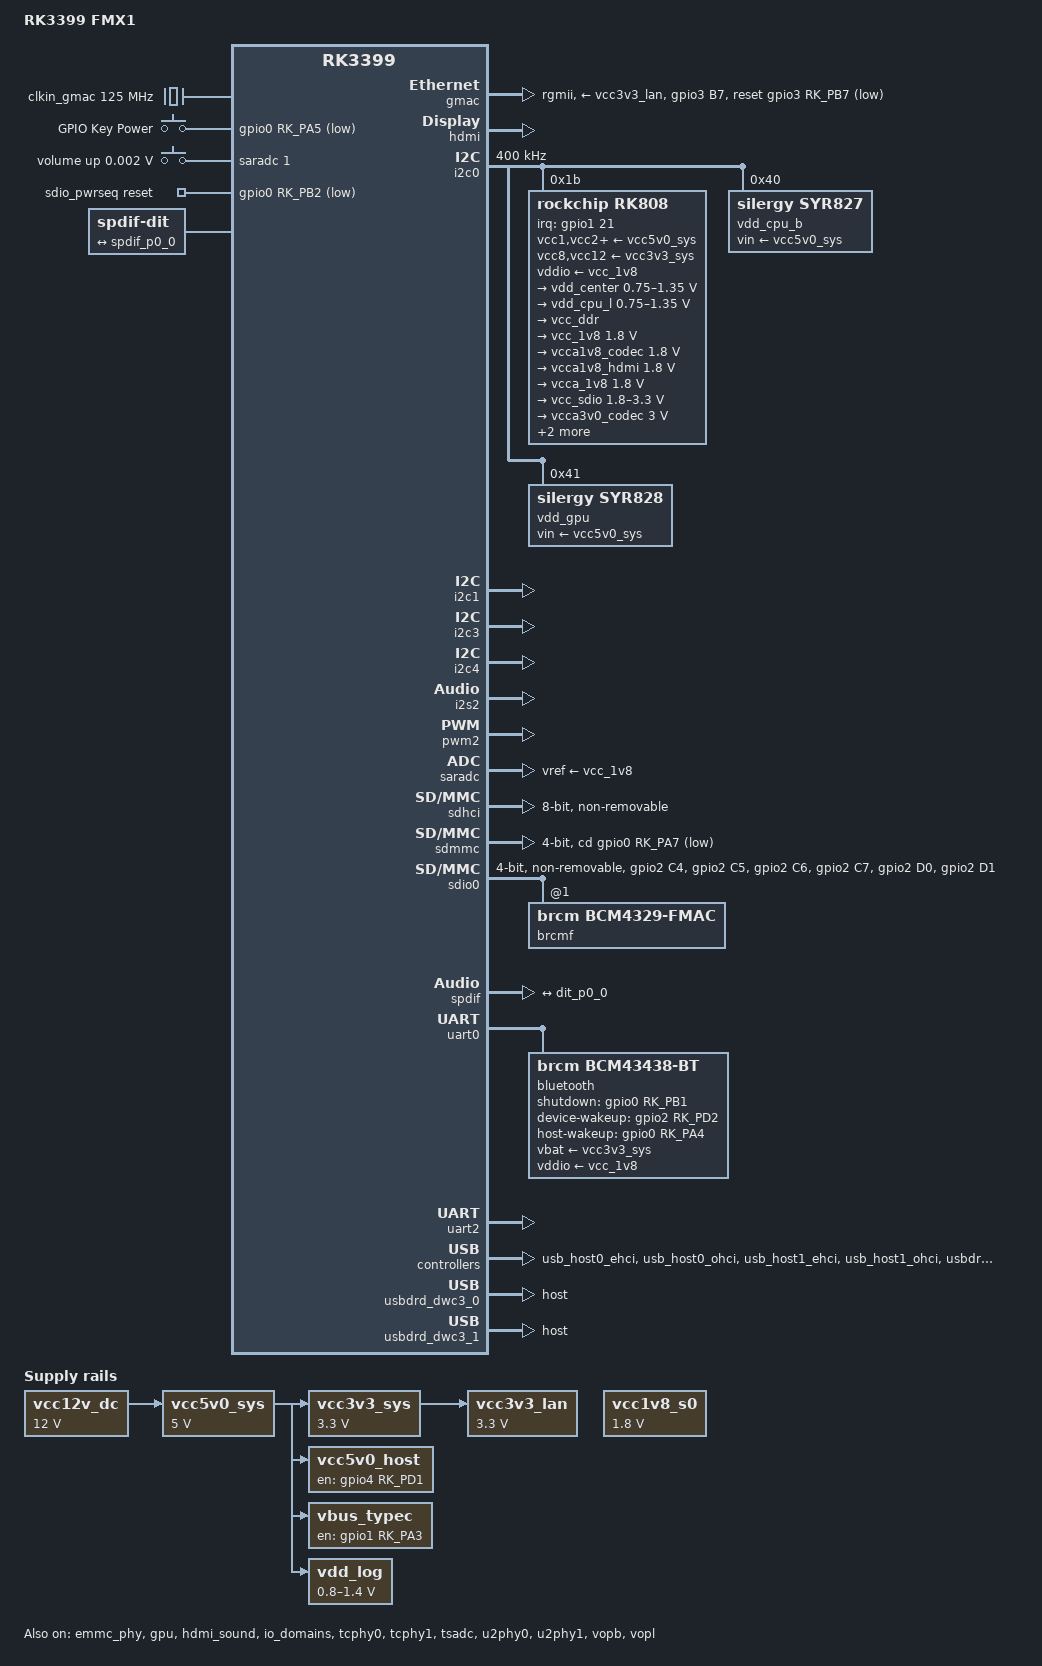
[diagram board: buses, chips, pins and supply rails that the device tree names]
// SPDX-License-Identifier: (GPL-2.0+ OR MIT)
// Copyright: 开心哥 QQ:3409908315

/dts-v1/;
#include <dt-bindings/input/linux-event-codes.h>
#include <dt-bindings/leds/common.h>
#include <dt-bindings/pwm/pwm.h>
#include "rk3399.dtsi"
#include "rk3399-opp.dtsi"

/ {
	model = "RK3399 FMX1";
	compatible = "rk3399,fmx1", "rockchip,rk3399";

	aliases {
		mmc0 = &sdmmc;
		mmc1 = &sdhci;
		mmc2 = &sdio0;
	};

	chosen {
		stdout-path = "serial2:1500000n8";
	};

	vcc12v_dc: dc-12v {
		compatible = "regulator-fixed";
		regulator-name = "vcc12v_dc";
		regulator-always-on;
		regulator-boot-on;
		regulator-min-microvolt = <12000000>;
		regulator-max-microvolt = <12000000>;
	};

	vcc5v0_sys: vcc-sys {
		compatible = "regulator-fixed";
		regulator-name = "vcc5v0_sys";
		regulator-always-on;
		regulator-boot-on;
		regulator-min-microvolt = <5000000>;
		regulator-max-microvolt = <5000000>;
		vin-supply = <&vcc12v_dc>;
	};

	vcc3v3_sys: vcc3v3-sys {
		compatible = "regulator-fixed";
		regulator-name = "vcc3v3_sys";
		regulator-always-on;
		regulator-boot-on;
		regulator-min-microvolt = <3300000>;
		regulator-max-microvolt = <3300000>;
		vin-supply = <&vcc5v0_sys>;
	};

	vcc1v8_s0: vcc1v8-s0 {
		compatible = "regulator-fixed";
		regulator-name = "vcc1v8_s0";
		regulator-always-on;
		regulator-boot-on;
		regulator-min-microvolt = <1800000>;
		regulator-max-microvolt = <1800000>;
	};

	vcc5v0_host: vcc5v0-host-regulator {
		compatible = "regulator-fixed";
		enable-active-high;
		gpio = <&gpio4 RK_PD1 GPIO_ACTIVE_HIGH>;
		pinctrl-names = "default";
		pinctrl-0 = <&vcc5v0_host_en>;
		regulator-name = "vcc5v0_host";
		regulator-always-on;
		vin-supply = <&vcc5v0_sys>;
	};

	vbus_typec: vbus-typec-regulator {
		compatible = "regulator-fixed";
		enable-active-high;
		gpio = <&gpio1 RK_PA3 GPIO_ACTIVE_HIGH>;
		pinctrl-names = "default";
		pinctrl-0 = <&vcc5v0_typec_en>;
		regulator-name = "vbus_typec";
		vin-supply = <&vcc5v0_sys>;
	};

	vcc3v3_lan: vcc3v3-lan-regulator {
		compatible = "regulator-fixed";
		regulator-name = "vcc3v3_lan";
		regulator-always-on;
		regulator-boot-on;
		regulator-min-microvolt = <3300000>;
		regulator-max-microvolt = <3300000>;
		vin-supply = <&vcc3v3_sys>;
	};

	vdd_log: vdd-log {
		compatible = "pwm-regulator";
		pwms = <&pwm2 0 25000 1>;
		regulator-name = "vdd_log";
		regulator-always-on;
		regulator-boot-on;
		regulator-min-microvolt = <800000>;
		regulator-max-microvolt = <1400000>;
		pwm-supply = <&vcc5v0_sys>;
	};

	clkin_gmac: external-gmac-clock {
		compatible = "fixed-clock";
		clock-frequency = <125000000>;
		clock-output-names = "clkin_gmac";
		#clock-cells = <0>;
	};

	gpio-keys {
		compatible = "gpio-keys";
		autorepeat;
		pinctrl-names = "default";
		pinctrl-0 = <&power_key>;

		key-power {
			debounce-interval = <100>;
			gpios = <&gpio0 RK_PA5 GPIO_ACTIVE_LOW>;
			label = "GPIO Key Power";
			linux,code = <KEY_POWER>;
			wakeup-source;
		};
	};

	adc-keys {
		compatible = "adc-keys";
		io-channels = <&saradc 1>;
		io-channel-names = "buttons";
		keyup-threshold-microvolt = <1800000>;
		poll-interval = <100>;

		vol-up-key {
			label = "volume up";
			linux,code = <KEY_VOLUMEUP>;
			press-threshold-microvolt = <1750>;
		};
	};

	sdio_pwrseq: sdio-pwrseq {
		compatible = "mmc-pwrseq-simple";
		clocks = <&rk808 1>;
		clock-names = "ext_clock";
		pinctrl-names = "default";
		pinctrl-0 = <&wifi_enable_h>;
		reset-gpios = <&gpio0 RK_PB2 GPIO_ACTIVE_LOW>;
	};

	sound-dit {
		compatible = "audio-graph-card";
		label = "SPDIF";
		dais = <&spdif_p0>;
	};

	spdif-dit {
		compatible = "linux,spdif-dit";
		#sound-dai-cells = <0>;

		port {
			dit_p0_0: endpoint {
				remote-endpoint = <&spdif_p0_0>;
			};
		};
	};
};

&cpu_l0 {
	cpu-supply = <&vdd_cpu_l>;
};

&cpu_l1 {
	cpu-supply = <&vdd_cpu_l>;
};

&cpu_l2 {
	cpu-supply = <&vdd_cpu_l>;
};

&cpu_l3 {
	cpu-supply = <&vdd_cpu_l>;
};

&cpu_b0 {
	cpu-supply = <&vdd_cpu_b>;
};

&cpu_b1 {
	cpu-supply = <&vdd_cpu_b>;
};

&emmc_phy {
	status = "okay";
};

&gmac {
	assigned-clocks = <&cru SCLK_RMII_SRC>;
	assigned-clock-parents = <&clkin_gmac>;
	clock_in_out = "input";
	phy-supply = <&vcc3v3_lan>;
	phy-mode = "rgmii";
	pinctrl-names = "default";
	pinctrl-0 = <&rgmii_pins &rgmii_phy_reset>;
	snps,reset-gpio = <&gpio3 RK_PB7 GPIO_ACTIVE_LOW>;
	snps,reset-active-low;
	snps,reset-delays-us = <0 10000 50000>;
	tx_delay = <0x28>;
	rx_delay = <0x11>;
	status = "okay";
};

&gpu {
	mali-supply = <&vdd_gpu>;
	status = "okay";
};

&hdmi {
	avdd-0v9-supply = <&vcca0v9_hdmi>;
	avdd-1v8-supply = <&vcca1v8_hdmi>;
	ddc-i2c-bus = <&i2c3>;
	pinctrl-names = "default";
	pinctrl-0 = <&hdmi_cec>;
	status = "okay";
};

&hdmi_sound {
	status = "okay";
};

&i2c0 {
	clock-frequency = <400000>;
	i2c-scl-rising-time-ns = <168>;
	i2c-scl-falling-time-ns = <4>;
	status = "okay";

	rk808: pmic@1b {
		compatible = "rockchip,rk808";
		reg = <0x1b>;
		interrupt-parent = <&gpio1>;
		interrupts = <21 IRQ_TYPE_LEVEL_LOW>;
		#clock-cells = <1>;
		clock-output-names = "xin32k", "rk808-clkout2";
		pinctrl-names = "default";
		pinctrl-0 = <&pmic_int_l>;
		rockchip,system-power-controller;
		wakeup-source;

		vcc1-supply = <&vcc5v0_sys>;
		vcc2-supply = <&vcc5v0_sys>;
		vcc3-supply = <&vcc5v0_sys>;
		vcc4-supply = <&vcc5v0_sys>;
		vcc6-supply = <&vcc5v0_sys>;
		vcc7-supply = <&vcc5v0_sys>;
		vcc8-supply = <&vcc3v3_sys>;
		vcc9-supply = <&vcc5v0_sys>;
		vcc10-supply = <&vcc5v0_sys>;
		vcc11-supply = <&vcc5v0_sys>;
		vcc12-supply = <&vcc3v3_sys>;
		vddio-supply = <&vcc_1v8>;

		regulators {
			vdd_center: DCDC_REG1 {
				regulator-name = "vdd_center";
				regulator-always-on;
				regulator-boot-on;
				regulator-min-microvolt = <750000>;
				regulator-max-microvolt = <1350000>;
				regulator-ramp-delay = <6001>;
				regulator-state-mem {
					regulator-off-in-suspend;
				};
			};

			vdd_cpu_l: DCDC_REG2 {
				regulator-name = "vdd_cpu_l";
				regulator-always-on;
				regulator-boot-on;
				regulator-min-microvolt = <750000>;
				regulator-max-microvolt = <1350000>;
				regulator-ramp-delay = <6001>;
				regulator-state-mem {
					regulator-off-in-suspend;
				};
			};

			vcc_ddr: DCDC_REG3 {
				regulator-name = "vcc_ddr";
				regulator-always-on;
				regulator-boot-on;
				regulator-state-mem {
					regulator-on-in-suspend;
				};
			};

			vcc_1v8: DCDC_REG4 {
				regulator-name = "vcc_1v8";
				regulator-always-on;
				regulator-boot-on;
				regulator-min-microvolt = <1800000>;
				regulator-max-microvolt = <1800000>;
				regulator-state-mem {
					regulator-on-in-suspend;
					regulator-suspend-microvolt = <1800000>;
				};
			};

			vcca1v8_codec: LDO_REG1 {
				regulator-name = "vcca1v8_codec";
				regulator-always-on;
				regulator-boot-on;
				regulator-min-microvolt = <1800000>;
				regulator-max-microvolt = <1800000>;
				regulator-state-mem {
					regulator-off-in-suspend;
				};
			};

			vcca1v8_hdmi: LDO_REG2 {
				regulator-name = "vcca1v8_hdmi";
				regulator-always-on;
				regulator-boot-on;
				regulator-min-microvolt = <1800000>;
				regulator-max-microvolt = <1800000>;
				regulator-state-mem {
					regulator-off-in-suspend;
				};
			};

			vcca_1v8: LDO_REG3 {
				regulator-name = "vcca_1v8";
				regulator-always-on;
				regulator-boot-on;
				regulator-min-microvolt = <1800000>;
				regulator-max-microvolt = <1800000>;
				regulator-state-mem {
					regulator-on-in-suspend;
					regulator-suspend-microvolt = <1800000>;
				};
			};

			vcc_sdio: LDO_REG4 {
				regulator-name = "vcc_sdio";
				regulator-always-on;
				regulator-boot-on;
				regulator-min-microvolt = <1800000>;
				regulator-max-microvolt = <3300000>;
				regulator-state-mem {
					regulator-on-in-suspend;
					regulator-suspend-microvolt = <3300000>;
				};
			};

			vcca3v0_codec: LDO_REG5 {
				regulator-name = "vcca3v0_codec";
				regulator-always-on;
				regulator-boot-on;
				regulator-min-microvolt = <3000000>;
				regulator-max-microvolt = <3000000>;
				regulator-state-mem {
					regulator-off-in-suspend;
				};
			};

			vcc_1v5: LDO_REG6 {
				regulator-name = "vcc_1v5";
				regulator-always-on;
				regulator-boot-on;
				regulator-min-microvolt = <1500000>;
				regulator-max-microvolt = <1500000>;
				regulator-state-mem {
					regulator-on-in-suspend;
					regulator-suspend-microvolt = <1500000>;
				};
			};

			vcca0v9_hdmi: LDO_REG7 {
				regulator-name = "vcca0v9_hdmi";
				regulator-always-on;
				regulator-boot-on;
				regulator-min-microvolt = <900000>;
				regulator-max-microvolt = <900000>;
				regulator-state-mem {
					regulator-off-in-suspend;
				};
			};

			vcc_3v0: LDO_REG8 {
				regulator-name = "vcc_3v0";
				regulator-always-on;
				regulator-boot-on;
				regulator-min-microvolt = <3000000>;
				regulator-max-microvolt = <3000000>;
				regulator-state-mem {
					regulator-on-in-suspend;
					regulator-suspend-microvolt = <3000000>;
				};
			};

			vcc_cam: SWITCH_REG1 {
				regulator-name = "vcc_cam";
				regulator-always-on;
				regulator-boot-on;
				regulator-state-mem {
					regulator-off-in-suspend;
				};
			};

			vcc_mipi: SWITCH_REG2 {
				regulator-name = "vcc_mipi";
				regulator-always-on;
				regulator-boot-on;
				regulator-state-mem {
					regulator-off-in-suspend;
				};
			};
		};
	};

	vdd_cpu_b: regulator@40 {
		compatible = "silergy,syr827";
		reg = <0x40>;
		fcs,suspend-voltage-selector = <0>;
		regulator-name = "vdd_cpu_b";
		regulator-min-microvolt = <712500>;
		regulator-max-microvolt = <1500000>;
		regulator-ramp-delay = <1000>;
		regulator-always-on;
		regulator-boot-on;
		vin-supply = <&vcc5v0_sys>;

		regulator-state-mem {
			regulator-off-in-suspend;
		};
	};

	vdd_gpu: regulator@41 {
		compatible = "silergy,syr828";
		reg = <0x41>;
		fcs,suspend-voltage-selector = <1>;
		regulator-name = "vdd_gpu";
		regulator-min-microvolt = <712500>;
		regulator-max-microvolt = <1500000>;
		regulator-ramp-delay = <1000>;
		regulator-always-on;
		regulator-boot-on;
		vin-supply = <&vcc5v0_sys>;

		regulator-state-mem {
			regulator-off-in-suspend;
		};
	};
};

&i2c1 {
	i2c-scl-rising-time-ns = <300>;
	i2c-scl-falling-time-ns = <15>;
	status = "okay";
};

&i2c3 {
	i2c-scl-rising-time-ns = <450>;
	i2c-scl-falling-time-ns = <15>;
	status = "okay";
};

&i2c4 {
	i2c-scl-rising-time-ns = <600>;
	i2c-scl-falling-time-ns = <20>;
	status = "okay";
};

&i2s2 {
	status = "okay";
};

&io_domains {
	status = "okay";

	bt656-supply = <&vcc1v8_s0>;		/* APIO2_VDD */
	audio-supply = <&vcc1v8_s0>;		/* APIO5_VDD */
	sdmmc-supply = <&vcc_sdio>;		/* SDMMC0_VDD */
	gpio1830-supply = <&vcc_3v0>;		/* APIO4_VDD */
};

&pmu_io_domains {
	status = "okay";

	pmu1830-supply = <&vcc_1v8>;		/* PMUIO2_VDD */
};

&pcie_phy {
	status = "disabled";
};

&pcie0 {
	status = "disabled";
};

&pinctrl {
	rockchip-key {
		power_key: power-key {
			rockchip,pins = <0 RK_PA5 RK_FUNC_GPIO &pcfg_pull_up>;
		};
	};

	pmic {
		pmic_int_l: pmic-int-l {
			rockchip,pins = <1 RK_PC5 RK_FUNC_GPIO &pcfg_pull_up>;
		};
	};

	usb2 {
		vcc5v0_host_en: vcc5v0-host-en {
			rockchip,pins = <4 RK_PD1 RK_FUNC_GPIO &pcfg_pull_none>;
		};
	};

	usb-typec {
		vcc5v0_typec_en: vcc5v0-typec-en {
			rockchip,pins = <1 RK_PA3 RK_FUNC_GPIO &pcfg_pull_up>;
		};
	};

	sdio0 {
		sdio0_bus4: sdio0-bus4 {
			rockchip,pins =
				<2 RK_PC4 1 &pcfg_pull_up_20ma>,
				<2 RK_PC5 1 &pcfg_pull_up_20ma>,
				<2 RK_PC6 1 &pcfg_pull_up_20ma>,
				<2 RK_PC7 1 &pcfg_pull_up_20ma>;
		};

		sdio0_cmd: sdio0-cmd {
			rockchip,pins = <2 RK_PD0 1 &pcfg_pull_up_20ma>;
		};

		sdio0_clk: sdio0-clk {
			rockchip,pins = <2 RK_PD1 1 &pcfg_pull_none_20ma>;
		};
	};

	gmac {
		rgmii_phy_reset: rgmii-phy-reset {
			rockchip,pins = <3 RK_PB7 RK_FUNC_GPIO &pcfg_output_low>;
		};
	};

	wifi {
		wifi_enable_h: wifi-enable-h {
			rockchip,pins = <0 RK_PB2 RK_FUNC_GPIO &pcfg_pull_none>;
		};

		wifi_host_wake_l: wifi-host-wake-l {
			rockchip,pins = <0 RK_PA3 RK_FUNC_GPIO &pcfg_pull_down>;
		};
	};

	bt {
		bt_enable_h: bt-enable-h {
			rockchip,pins = <0 RK_PB1 RK_FUNC_GPIO &pcfg_pull_none>;
		};

		bt_wake_l: bt-wake-l {
			rockchip,pins = <2 RK_PD2 RK_FUNC_GPIO &pcfg_pull_none>;
		};

		bt_host_wake_l: bt-host-wake-l {
			rockchip,pins = <0 RK_PA4 RK_FUNC_GPIO &pcfg_pull_none>;
		};
	};
};

&pwm2 {
	status = "okay";
};

&saradc {
	status = "okay";

	vref-supply = <&vcc_1v8>;
};

&sdhci {
	bus-width = <8>;
	non-removable;
	status = "okay";
};

&sdmmc {
	bus-width = <4>;
	cap-mmc-highspeed;
	cap-sd-highspeed;
	cd-gpios = <&gpio0 RK_PA7 GPIO_ACTIVE_LOW>;
	disable-wp;
	clock-frequency = <100000000>;
	sd-uhs-sdr104;
	pinctrl-names = "default";
	pinctrl-0 = <&sdmmc_clk &sdmmc_cd &sdmmc_cmd &sdmmc_bus4>;
	vqmmc-supply = <&vcc_sdio>;
	card-detect-delay = <800>;
	status = "okay";
};

&sdio0 {
	#address-cells = <1>;
	#size-cells = <0>;

	bus-width = <4>;
	max-frequency = <50000000>;
	clock-frequency = <50000000>;
	disable-wp;
	cap-sdio-irq;
	cap-sd-highspeed;
	keep-power-in-suspend;
	mmc-pwrseq = <&sdio_pwrseq>;
	non-removable;
	pinctrl-names = "default";
	pinctrl-0 = <&sdio0_bus4 &sdio0_cmd &sdio0_clk>;
	sd-uhs-sdr104;
	status = "okay";

	brcmf: wifi@1 {
		compatible = "brcm,bcm4329-fmac";
		reg = <1>;
		pinctrl-names = "default";
		pinctrl-0 = <&wifi_host_wake_l>;
	};
};

&spdif {
	spdif_p0: port {
		spdif_p0_0: endpoint {
			remote-endpoint = <&dit_p0_0>;
		};
	};
};

&tcphy0 {
	status = "okay";
};

&tcphy1 {
	status = "okay";
};

&tsadc {
	status = "okay";

	/* tshut mode 0:CRU 1:GPIO */
	rockchip,hw-tshut-mode = <1>;
	/* tshut polarity 0:LOW 1:HIGH */
	rockchip,hw-tshut-polarity = <1>;
};

&u2phy0 {
	status = "okay";

	u2phy0_otg: otg-port {
		status = "okay";
	};

	u2phy0_host: host-port {
		phy-supply = <&vcc5v0_host>;
		status = "okay";
	};
};

&u2phy1 {
	status = "okay";

	u2phy1_otg: otg-port {
		status = "okay";
	};

	u2phy1_host: host-port {
		phy-supply = <&vcc5v0_host>;
		status = "okay";
	};
};

&uart0 {
	pinctrl-names = "default";
	pinctrl-0 = <&uart0_xfer &uart0_cts &uart0_rts>;
	status = "okay";

	bluetooth {
		compatible = "brcm,bcm43438-bt";
		clocks = <&rk808 1>;
		clock-names = "ext_clock";
		shutdown-gpios = <&gpio0 RK_PB1 GPIO_ACTIVE_HIGH>;
		device-wakeup-gpios = <&gpio2 RK_PD2 GPIO_ACTIVE_HIGH>;	/* Host wake BT */
		host-wakeup-gpios = <&gpio0 RK_PA4 GPIO_ACTIVE_HIGH>;	/* BT wake Host, irq*/
		max-speed = <1500000>;
		pinctrl-names = "default";
		pinctrl-0 = <&bt_enable_h &bt_wake_l &bt_host_wake_l>;
		vbat-supply = <&vcc3v3_sys>;
		vddio-supply = <&vcc_1v8>;
	};
};

&uart2 {
	status = "okay";
};

&usb_host0_ehci {
	status = "okay";
};

&usb_host0_ohci {
	status = "okay";
};

&usb_host1_ehci {
	status = "okay";
};

&usb_host1_ohci {
	status = "okay";
};

&usbdrd3_0 {
	status = "okay";
};

&usbdrd_dwc3_0 {
	status = "okay";
	dr_mode = "host";
};

&usbdrd3_1 {
	status = "okay";
};

&usbdrd_dwc3_1 {
	status = "okay";
	dr_mode = "host";
};

&vopb {
	status = "okay";
};

&vopb_mmu {
	status = "okay";
};

&vopl {
	status = "okay";
};

&vopl_mmu {
	status = "okay";
};
